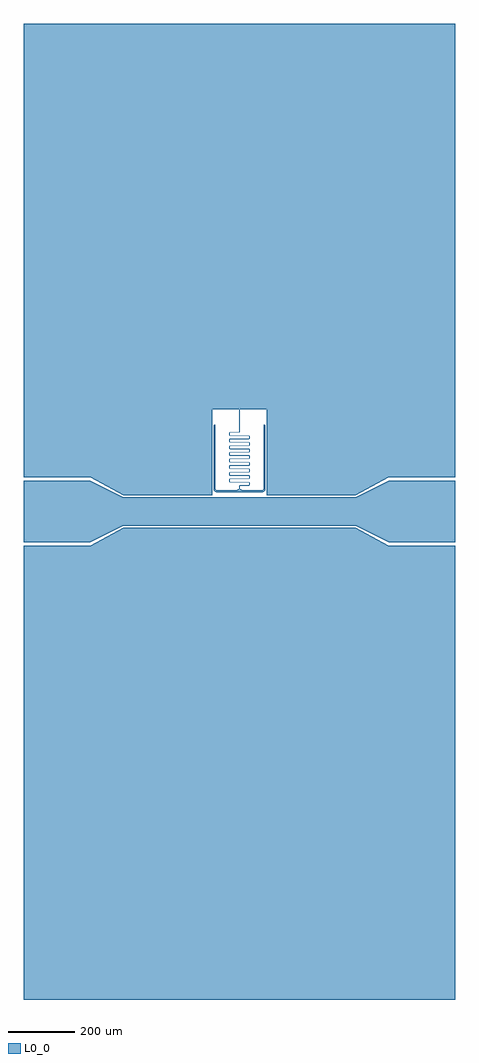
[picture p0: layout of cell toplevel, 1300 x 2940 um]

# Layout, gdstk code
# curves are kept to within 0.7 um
import gdstk
lib = gdstk.Library(unit=1e-6, precision=1e-09)
def P(c, l, *ps):  # polygons
    for p in ps: c.add(gdstk.Polygon(p, *l))
L0_0 = (0, 0)

toplevel = lib.new_cell('toplevel')
P(toplevel, L0_0, [(82.5,308.5),(82.5,48.5),(350,48.5),(450,102.575),(650,102.575),(650,1470),(-650,1470),(-650,102.575),(-450,102.575),(-350,48.5),(-82.5,48.5),(-82.5,308.5)],
  [(650,-1470),(650,-102.575),(450,-102.575),(350,-48.5),(-350,-48.5),(-450,-102.575),(-650,-102.575),(-650,-1470)],
  [(-75.109,260.998),(-76.768,260.268),(-77.5,258.5),(-77.498,69.541),(-77.026,65.219),(-75.559,62.082),(-72.043,59.396),(-66.738,58.505),(66.598,58.503),(70.727,58.959),(73.918,60.441),(76.626,64.011),(77.495,69.262),(77.5,258.5),(76.983,260.022),(74.248,260.884),(72.502,258.609),(72.499,69.664),(71.549,65.069),(69.674,63.856),(66.461,63.502),(-66.336,63.501),(-71.045,64.538),(-72.476,68.616),(-72.5,258.5),(-73.232,260.268)],
  [(0.3,68.5),(0.317,76.851),(0.562,77.666),(1.133,78.083),(2.108,78.2),(28.035,78.202),(28.864,78.292),(29.499,78.563),(30.093,79.289),(30.297,80.411),(30.286,86.846),(30.117,87.654),(29.731,88.249),(29.003,88.67),(27.969,88.799),(-28.559,88.842),(-29.359,89.231),(-29.682,90.13),(-29.695,96.665),(-29.385,97.738),(-28.842,98.091),(-27.953,98.199),(28.597,98.241),(29.683,98.706),(30.227,99.718),(30.3,106.256),(30.211,107.352),(29.861,108.103),(29.222,108.588),(28.301,108.789),(-28.055,108.802),(-29.199,109.085),(-29.502,109.442),(-29.663,109.969),(-29.668,116.994),(-29.332,117.799),(-28.568,118.157),(28.133,118.204),(28.969,118.32),(29.603,118.639),(30.028,119.154),(30.256,119.88),(30.243,127.201),(29.731,128.249),(28.666,128.749),(-28.055,128.802),(-29.193,129.081),(-29.494,129.427),(-29.66,129.951),(-29.669,136.984),(-29.338,137.793),(-28.568,138.157),(28.122,138.204),(28.957,138.317),(29.583,138.623),(30.016,139.131),(30.249,139.834),(30.243,147.201),(29.731,148.249),(28.666,148.749),(-28.045,148.802),(-29.179,149.071),(-29.652,149.905),(-29.669,156.984),(-29.338,157.793),(-28.568,158.157),(28.122,158.204),(28.945,158.313),(29.562,158.607),(29.997,159.098),(30.238,159.776),(30.245,167.189),(29.731,168.249),(28.666,168.749),(-28.045,168.802),(-29.159,169.057),(-29.643,169.859),(-29.669,176.984),(-29.338,177.793),(-28.568,178.157),(28.111,178.203),(28.922,178.307),(29.541,178.592),(29.971,179.055),(30.224,179.706),(30.247,187.178),(29.74,188.24),(28.678,188.747),(-28.035,188.802),(-29.138,189.044),(-29.63,189.797),(-29.67,196.975),(-29.338,197.793),(-28.559,198.158),(28.1,198.203),(28.899,198.301),(29.51,198.57),(29.944,199.012),(30.205,199.625),(30.249,207.166),(29.74,208.24),(28.678,208.747),(-28.025,208.801),(-29.109,209.027),(-29.612,209.727),(-29.672,216.965),(-29.338,217.793),(-28.559,218.158),(28.089,218.203),(29.456,218.535),(29.893,218.938),(30.173,219.508),(30.299,220.531),(30.25,227.155),(29.749,228.231),(28.678,228.747),(-28.015,228.801),(-29.073,229.006),(-29.586,229.641),(-29.699,230.506),(-29.683,236.861),(-29.433,237.673),(-28.85,238.089),(-27.892,238.2),(-1.789,238.207),(-0.566,238.522),(0.125,239.369),(0.3,240.638),(0.3,308.5),(-0.3,308.5),(-0.3,240.65),(-0.432,239.592),(-0.92,239.01),(-1.865,238.804),(-27.915,238.8),(-29.061,238.651),(-29.893,238.062),(-30.27,237.016),(-30.299,230.476),(-30.154,229.45),(-29.869,228.907),(-29.434,228.522),(-28.078,228.202),(28.559,228.158),(29.338,227.793),(29.672,226.965),(29.602,219.692),(29.095,219.018),(28.025,218.801),(-28.678,218.747),(-29.74,218.24),(-30.249,217.166),(-30.299,210.552),(-30.19,209.566),(-29.915,208.969),(-29.478,208.549),(-28.875,208.295),(-28.089,208.203),(28.559,208.158),(29.338,207.793),(29.67,206.975),(29.623,199.77),(29.124,199.035),(28.035,198.802),(-28.678,198.747),(-29.74,198.24),(-30.247,197.178),(-30.214,189.659),(-29.958,189.033),(-29.52,188.578),(-28.91,188.304),(-28.1,188.203),(28.559,188.158),(29.332,187.799),(29.669,186.984),(29.638,179.832),(29.152,179.053),(28.045,178.802),(-28.678,178.747),(-29.74,178.24),(-30.247,177.178),(-30.232,169.741),(-29.985,169.076),(-29.552,168.6),(-28.934,168.31),(-28.111,168.203),(28.568,168.157),(29.338,167.793),(29.669,166.984),(29.649,159.886),(29.173,159.067),(28.045,158.802),(-28.678,158.747),(-29.74,158.24),(-30.245,157.189),(-30.243,149.799),(-30.004,149.109),(-29.573,148.615),(-28.945,148.313),(-28.122,148.204),(28.568,148.157),(29.338,147.793),(29.669,146.984),(29.657,139.932),(29.49,139.42),(29.186,139.076),(28.055,138.802),(-28.666,138.749),(-29.731,138.249),(-30.243,137.201),(-30.252,129.857),(-30.022,129.143),(-29.593,128.631),(-28.957,128.317),(-28.122,128.204),(28.568,128.157),(29.332,127.799),(29.668,126.994),(29.663,119.969),(29.502,119.442),(29.199,119.085),(28.055,118.802),(-28.666,118.749),(-29.731,118.249),(-30.243,117.201),(-30.256,109.88),(-30.028,109.154),(-29.603,108.639),(-28.969,108.32),(-28.122,108.204),(28.264,108.19),(28.965,108.045),(29.41,107.706),(29.643,107.141),(29.658,99.941),(29.299,99.168),(28.494,98.832),(-27.991,98.799),(-29.108,98.634),(-29.853,98.113),(-30.162,97.527),(-30.291,96.756),(-30.27,89.984),(-30.107,89.323),(-29.785,88.807),(-29.313,88.455),(-28.689,88.255),(27.943,88.2),(28.773,88.112),(29.316,87.816),(29.583,87.367),(29.693,86.715),(29.692,80.266),(29.456,79.362),(28.842,78.909),(27.892,78.8),(1.965,78.798),(1.136,78.708),(0.512,78.444),(-0.04,77.824),(-0.282,76.891),(-0.3,68.5)],
  [(10,63.5),(0.3,68.5),(-0.3,68.5),(-10,63.5)],
  [(-350,43.5),(-450,92),(-650,92),(-650,-92),(-450,-92),(-350,-43.5),(350,-43.5),(450,-92),(650,-92),(650,92),(450,92),(350,43.5)])

lib.write_gds('toplevel.gds')
